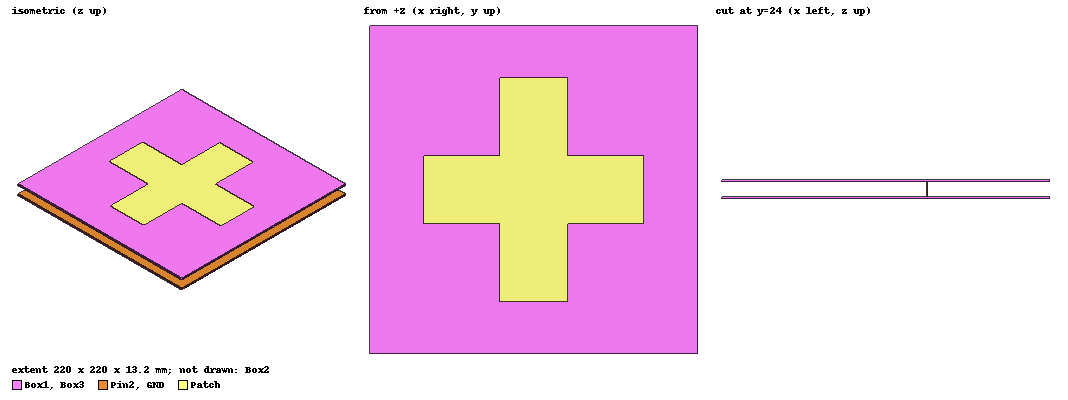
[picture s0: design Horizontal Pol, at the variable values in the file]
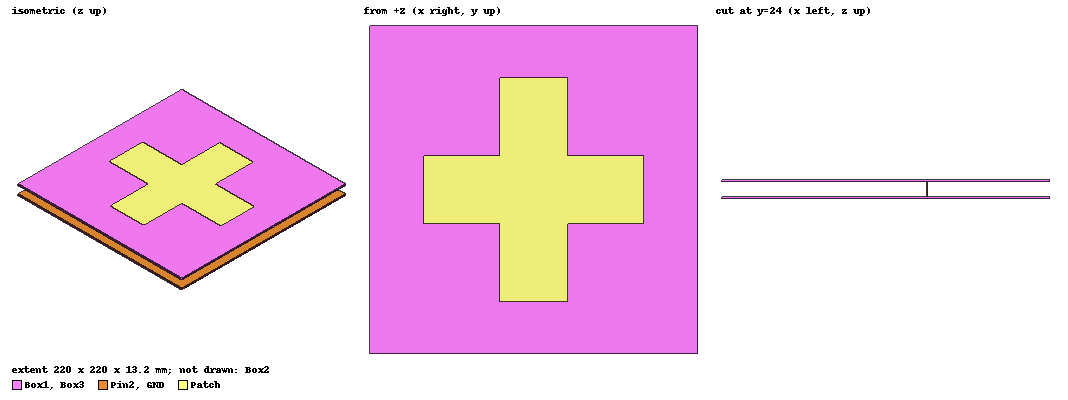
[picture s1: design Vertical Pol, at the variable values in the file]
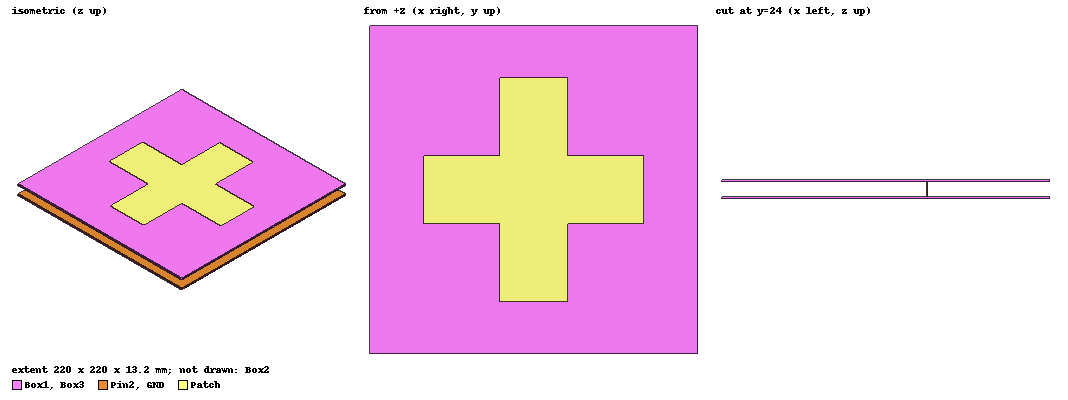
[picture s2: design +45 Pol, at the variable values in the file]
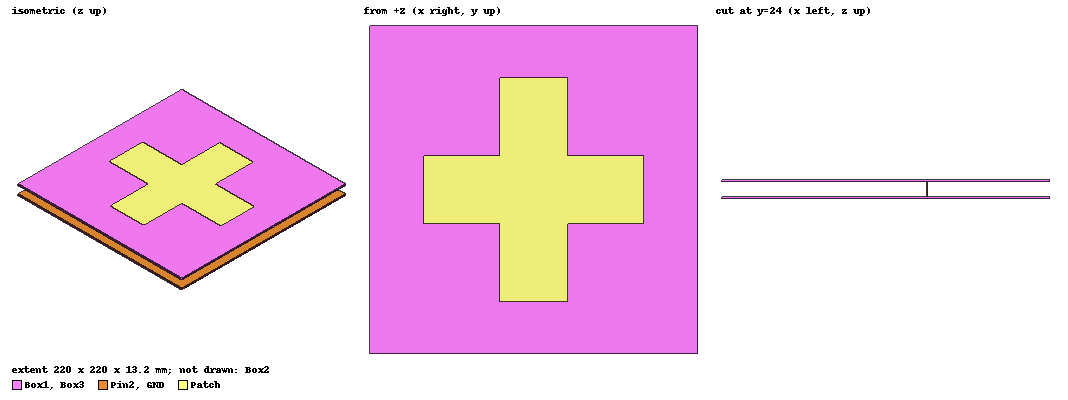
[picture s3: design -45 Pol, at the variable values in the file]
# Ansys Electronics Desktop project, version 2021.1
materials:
  vacuum: permittivity=1
  FR4_epoxy: permittivity=4.4 dielectric_loss_tangent=0.02
  copper: permeability=0.999991 conductivity=58000000

design Horizontal Pol (HFSS, DrivenModal, model units mm)
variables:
  Wg = 220mm
  Ha = 10mm
  Hs = 1.6mm
  Lp = 147mm
  Wp = 45mm
  d = 24mm
  Lc = 15mm
  Bo = 100mm
  w1 = 5.6mm
  l1 = 32mm
  l2 = 40mm
  w2 = 3.8mm
  l3 = 15mm
  l4 = l2-d
  cut = 2.5mm
  l5 = Wg/2-l1-w2-l3+s
  s = 3mm
  rp = 0.3mm
  diode_1 = 80mm
  l_diode = 0.4mm
  diode_2 = 34mm
  w_diode = 0.8mm
  Rf = 1.32ohm
  Cf = 0.15pF
  Lp1 = 150mm
  Wp1 = 45mm
  d_in = 10mm
  w_in = 0.6mm
  l_in = 0.8mm
  w_wi = 1mm
  l_wi = 20mm
  Lin = 220nH
  dd = 28mm
  cap_off = 5mm
  Cap = 220pF
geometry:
  GND = rectangle(corner=(-Wg/2, -Wg/2, 0mm), x_size=Wg, y_size=Wg)
  Box1 [FR4_epoxy] = box(corner=(-Wg/2, -Wg/2, Ha), size=(Wg, Wg, Hs))
  Patch = rectangle(corner=(-Lp/2, -Wp/2, Ha+Hs), x_size=Lp, y_size=Wp)
  Pin [copper] = cylinder(axis=Z, base_centre=(0, d, -Hs), radius=rp, height=2*Hs+Ha)
  Circle1 = circle(normal=Z, centre=(-dd, 0mm, 0mm), radius=0.7mm)
  Box2 [vacuum] = box(corner=(-Wg/2-Bo, -Wg/2-Bo, -Bo), size=(Wg+2*Bo, Wg+2*Bo, Ha+Hs+2*Bo))
  Divider = rectangle(corner=(Wg/2, -w1/2, 0mm), x_size=-l1, y_size=w1)
  Rectangle2 = rectangle(corner=(Wg/2-l1, -l2, 0mm), x_size=-w2, y_size=l2)
  Rectangle3 = rectangle(corner=(Wg/2-l1-w2, -l2, 0mm), x_size=-l3, y_size=w2)
  Rectangle4 = rectangle(corner=(Wg/2-l1-w2-l3, -l2, 0mm), x_size=-w2, y_size=l4)
  Polyline1 = polyline(z=0mm, xy: (0mm, 0mm) (cut, 0mm) (0mm, cut) (0mm, 0mm), closed, covered)
  Polyline1.move(Wg/2-l1-w2-l3-w2, -l2, 0mm)
  Polyline2 = polyline(z=0mm, xy: (0mm, 0mm) (cut, 0mm) (0mm, cut) (0mm, 0mm), closed, covered)
  Polyline2.rotate(axis=Z, angle=90deg)
  Polyline2.move(Wg/2-l1, -l2, 0mm)
  Rectangle5 = rectangle(corner=(Wg/2-l1-w2-l3, -d-w2/2, 0mm), x_size=-l5, y_size=w2)
  Polyline3 = polyline(z=0mm, xy: (0mm, 0mm) (cut, 0mm) (0mm, cut) (0mm, 0mm), closed, covered)
  Polyline3.rotate(axis=Z, angle=180deg)
  Polyline3.move(Wg/2-l1-w2-l3, -d+w2/2, 0mm)
  Rectangle2.unite(Rectangle3, Rectangle4, Rectangle5)
  Rectangle2.subtract(Polyline1, Polyline2, Polyline3)
  Rectangle2_1 = Rectangle2.duplicate_mirror(point=(30mm, 0mm, 0mm), normal=(0mm, 1mm, 0mm))
  Rectangle6 = rectangle(corner=(Wg/2, -w2/2, 0mm), x_size=-Wg/2-dd-s, y_size=w2)
  Divider.unite(Rectangle2, Rectangle2_1, Rectangle6)
  D1 = rectangle(corner=(Wg/2-l1-w2-diode_1, -w_diode/2, 0mm), x_size=-l_diode, y_size=w_diode)
  D2 = rectangle(corner=(Wg/2-l1-w2-diode_2, -d-w_diode/2, 0mm), x_size=-l_diode, y_size=w_diode)
  D3 = D2.duplicate_mirror(point=(-25mm, 0mm, 0mm), normal=(0mm, 1mm, 0mm))
  Rectangle9 = rectangle(corner=(Wg/2-l1-w2-diode_1, -w2/2, 0mm), x_size=-l_diode, y_size=w2)
  Rectangle10 = rectangle(corner=(Wg/2-l1-w2-diode_2, -d-w2/2, 0mm), x_size=-l_diode, y_size=w2)
  Rectangle8_2 = Rectangle10.duplicate_mirror(point=(-25mm, 0mm, 0mm), normal=(0mm, 1mm, 0mm))
  Rectangle9.unite(Rectangle10, Rectangle8_2)
  Divider.subtract(Rectangle9)
  [D1, D2, D3, Divider].move(0mm, 0mm, -Hs)
  Box3 [FR4_epoxy] = box(corner=(-Wg/2, -Wg/2, 0), size=(Wg, Wg, -Hs))
  Port = rectangle(corner=(Wg/2, -w1/2, 0mm), y_size=w1, z_size=-Hs)
  Patch1 = rectangle(corner=(-Lp1/2, -Wp1/2, Ha+Hs), x_size=Lp1, y_size=Wp1)
  Patch1.rotate(axis=Z, angle=90deg)
  Patch.unite(Patch1)
  Inductor1 = rectangle(corner=(Wg/2-d_in-w_in/2, w1/2, -Hs), x_size=w_in, y_size=l_in)
  wire = rectangle(corner=(Wg/2-d_in-w_wi/2, w1/2+l_in, -Hs), x_size=w_wi, y_size=l_wi)
  Inductor2 = rectangle(corner=(d_in-w_in/2, d+w2/2, -Hs), x_size=w_in, y_size=l_in)
  wire2 = rectangle(corner=(d_in-w_wi/2, d+w2/2+l_in, -Hs), x_size=w_wi, y_size=l_wi)
  Inductor2_1 = Inductor2.duplicate_mirror(point=(-30mm, 0mm, 0mm), normal=(0mm, -1mm, 0mm))
  wire2_1 = wire2.duplicate_mirror(point=(-30mm, 0mm, 0mm), normal=(0mm, -1mm, 0mm))
  Inductor3 = rectangle(corner=(-d+d_in-w_in/2, w2/2, -Hs), x_size=w_in, y_size=l_in)
  wire3 = rectangle(corner=(-d+d_in-w_wi/2, l_in+w2/2, -Hs), x_size=w_wi, y_size=l_wi)
  Divider.unite(wire, wire2, wire2_1, wire3)
  Pin_5 [copper] = Pin.duplicate_around_axis(axis=Z, angle=180deg, total=2)
  Pin2 [copper] = cylinder(axis=Z, base_centre=(-dd, 0, -Hs), radius=rp, height=2*Hs+Ha)
  Circle2 = circle(normal=Z, centre=(0, d, 0mm), radius=0.7mm)
  Circle2_1 = Circle2.duplicate_around_axis(axis=Z, angle=180deg, total=2)
  GND.subtract(Circle1, Circle2, Circle2_1)
  Pin3 = cylinder(axis=Z, base_centre=(0, d, -Hs), radius=rp, height=2*Hs+Ha)
  Pin_6 = Pin3.duplicate_around_axis(axis=Z, angle=180deg, total=2)
  Pin4 = cylinder(axis=Z, base_centre=(-dd, 0, -Hs), radius=rp, height=2*Hs+Ha)
  Pin3.unite(Pin_6, Pin4)
  Pin3_1 = Pin3.copy()
  Box1.subtract(Pin3_1)
  Box3.subtract(Pin3)
  Cap = rectangle(corner=(-d+d_in-w_in/2-cap_off, l_in/2, -Hs), x_size=w_in, y_size=-l_in)
  Cap1 = rectangle(corner=(-d+d_in-w_in/2-cap_off, w2/2, -Hs), x_size=w_in, y_size=-w2)
  Cap2 = rectangle(corner=(d_in-w_in/2-cap_off, d+w2/2, -Hs), x_size=w_in, y_size=-w2)
  Cap2_1 = Cap2.duplicate_mirror(point=(-40mm, 0mm, 0mm), normal=(0mm, -1mm, 0mm))
  Cap3 = rectangle(corner=(d_in-w_in/2-cap_off, d+l_in/2, -Hs), x_size=w_in, y_size=-l_in)
  Cap3_1 = Cap3.duplicate_mirror(point=(-40mm, 0mm, 0mm), normal=(0mm, -1mm, 0mm))
  Cap1.unite(Cap2, Cap2_1)
  Divider.subtract(Cap1)
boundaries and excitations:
  FiniteCond1: Finite Conductivity Objects=[GND, Patch] UseMaterial Material=copper IsInternal
  Rad1: Radiation Objects=Box2
  D1: Lumped RLC Objects=D1 CurrentLine{middle of D1.edge(x at corner) -> middle of D1.edge(x opposite corner)} RLC_Type=Parallel Capacitance=Cf
  D2: Lumped RLC Objects=D2 CurrentLine{middle of D2.edge(x at corner) -> middle of D2.edge(x opposite corner)} RLC_Type=Parallel Resistance=Rf
  D3: Lumped RLC Objects=D3 CurrentLine{middle of D3.edge(2 of 4) -> middle of D3.edge(4 of 4)} RLC_Type=Parallel Capacitance=Cf
  FiniteCond2: Finite Conductivity Objects=Divider UseMaterial Material=copper IsInternal
  LumpRLC1: Lumped RLC Objects=Inductor1 CurrentLine{middle of Inductor1.edge(y at corner) -> middle of Inductor1.edge(y opposite corner)} RLC_Type=Parallel Inductance=Lin
  LumpRLC2: Lumped RLC Objects=Inductor2 CurrentLine{middle of Inductor2.edge(y at corner) -> middle of Inductor2.edge(y opposite corner)} RLC_Type=Parallel Inductance=Lin
  LumpRLC3: Lumped RLC Objects=Inductor2_1 CurrentLine{middle of Inductor2_1.edge(1 of 4) -> middle of Inductor2_1.edge(3 of 4)} RLC_Type=Parallel Inductance=Lin
  LumpRLC4: Lumped RLC Objects=Inductor3 CurrentLine{middle of Inductor3.edge(y at corner) -> middle of Inductor3.edge(y opposite corner)} RLC_Type=Parallel Inductance=Lin
  LumpRLC5: Lumped RLC Objects=Cap CurrentLine{middle of Cap.edge(x at corner) -> middle of Cap.edge(x opposite corner)} RLC_Type=Parallel Capacitance=Cap
  LumpRLC6: Lumped RLC Objects=Cap3_1 CurrentLine{middle of Cap3_1.edge(2 of 4) -> middle of Cap3_1.edge(4 of 4)} RLC_Type=Parallel Capacitance=cap
  LumpRLC7: Lumped RLC Objects=Cap3 CurrentLine{middle of Cap3.edge(x at corner) -> middle of Cap3.edge(x opposite corner)} RLC_Type=Parallel Capacitance=cap
  1: Lumped Port Objects=Port Modes{Mode1{IntLine{middle of Port.edge(z opposite corner) -> middle of Port.edge(z at corner)} CharImp=Zpi RenormImp=50ohm}} Impedance=50ohm
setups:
  Setup1: HfssDriven Frequency=0.91GHz MaxDeltaS=0.02 MaximumPasses=20 MinimumPasses=1 MinimumConvergedPasses=1 PercentRefinement=30 BasisOrder=1 PortAccuracy=2
    sweep Sweep: 0.86GHz to 0.96GHz step 0.002GHz; Type=Discrete SaveFields
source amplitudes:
  1:1: 1W 0deg
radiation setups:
  Infinite Sphere1: Infinite Sphere Theta=-180deg..180deg step 2deg Phi=-180deg..180deg step 2deg
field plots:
  Vector_Jsurf1: Jsurf over Patch.face(at (0, 0, 11.6)) on Setup1 : Sweep at Freq=0.914GHz Phase=90deg
  Mag_Jsurf1: Jsurf over Divider.face(all 11) on Setup1 : Sweep at Freq=0.914GHz Phase=0deg
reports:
  S Parameter Plot 1: dB(S(1,1)) vs Freq on Setup1 : Sweep [diode_1=all]; markers MY1 at y=-10
  Gain Plot 1: dB(GainPhi), dB(GainTheta) vs Theta on Setup1 : Sweep, Infinite Sphere1 [Phi=0deg,90deg Freq=0.914GHz]
  Realized Gain Plot 1: dB(RealizedGainTotal) vs Freq on Setup1 : Sweep, Infinite Sphere1 [Phi=0deg Theta=0deg]
  Gain Plot 2: dB(GainTotal) vs Phi, Theta on Setup1 : LastAdaptive, Infinite Sphere1 [Freq=0.91GHz]

design Vertical Pol (HFSS, DrivenModal, model units mm)
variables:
  Wg = 220mm
  Ha = 10mm
  Hs = 1.6mm
  Lp = 147mm
  Wp = 45mm
  d = 24mm
  Lc = 15mm
  Bo = 100mm
  w1 = 5.6mm
  l1 = 32mm
  l2 = 40mm
  w2 = 3.8mm
  l3 = 15mm
  l4 = l2-d
  cut = 2.5mm
  l5 = Wg/2-l1-w2-l3+s
  s = 3mm
  rp = 0.3mm
  diode_1 = 80mm
  l_diode = 0.4mm
  diode_2 = 34mm
  w_diode = 0.8mm
  Rf = 1.32ohm
  Cf = 0.15pF
  Lp1 = 150mm
  Wp1 = 45mm
  d_in = 10mm
  w_in = 0.6mm
  l_in = 0.8mm
  w_wi = 1mm
  l_wi = 20mm
  Lin = 220nH
  dd = 28mm
  cap_off = 5mm
  Cap = 220pF
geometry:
  GND = rectangle(corner=(-Wg/2, -Wg/2, 0mm), x_size=Wg, y_size=Wg)
  Box1 [FR4_epoxy] = box(corner=(-Wg/2, -Wg/2, Ha), size=(Wg, Wg, Hs))
  Patch = rectangle(corner=(-Lp/2, -Wp/2, Ha+Hs), x_size=Lp, y_size=Wp)
  Pin [copper] = cylinder(axis=Z, base_centre=(0, d, -Hs), radius=rp, height=2*Hs+Ha)
  Circle1 = circle(normal=Z, centre=(-dd, 0mm, 0mm), radius=0.7mm)
  Box2 [vacuum] = box(corner=(-Wg/2-Bo, -Wg/2-Bo, -Bo), size=(Wg+2*Bo, Wg+2*Bo, Ha+Hs+2*Bo))
  Divider = rectangle(corner=(Wg/2, -w1/2, 0mm), x_size=-l1, y_size=w1)
  Rectangle2 = rectangle(corner=(Wg/2-l1, -l2, 0mm), x_size=-w2, y_size=l2)
  Rectangle3 = rectangle(corner=(Wg/2-l1-w2, -l2, 0mm), x_size=-l3, y_size=w2)
  Rectangle4 = rectangle(corner=(Wg/2-l1-w2-l3, -l2, 0mm), x_size=-w2, y_size=l4)
  Polyline1 = polyline(z=0mm, xy: (0mm, 0mm) (cut, 0mm) (0mm, cut) (0mm, 0mm), closed, covered)
  Polyline1.move(Wg/2-l1-w2-l3-w2, -l2, 0mm)
  Polyline2 = polyline(z=0mm, xy: (0mm, 0mm) (cut, 0mm) (0mm, cut) (0mm, 0mm), closed, covered)
  Polyline2.rotate(axis=Z, angle=90deg)
  Polyline2.move(Wg/2-l1, -l2, 0mm)
  Rectangle5 = rectangle(corner=(Wg/2-l1-w2-l3, -d-w2/2, 0mm), x_size=-l5, y_size=w2)
  Polyline3 = polyline(z=0mm, xy: (0mm, 0mm) (cut, 0mm) (0mm, cut) (0mm, 0mm), closed, covered)
  Polyline3.rotate(axis=Z, angle=180deg)
  Polyline3.move(Wg/2-l1-w2-l3, -d+w2/2, 0mm)
  Rectangle2.unite(Rectangle3, Rectangle4, Rectangle5)
  Rectangle2.subtract(Polyline1, Polyline2, Polyline3)
  Rectangle2_1 = Rectangle2.duplicate_mirror(point=(30mm, 0mm, 0mm), normal=(0mm, 1mm, 0mm))
  Rectangle6 = rectangle(corner=(Wg/2, -w2/2, 0mm), x_size=-Wg/2-dd-s, y_size=w2)
  Divider.unite(Rectangle2, Rectangle2_1, Rectangle6)
  D1 = rectangle(corner=(Wg/2-l1-w2-diode_1, -w_diode/2, 0mm), x_size=-l_diode, y_size=w_diode)
  D2 = rectangle(corner=(Wg/2-l1-w2-diode_2, -d-w_diode/2, 0mm), x_size=-l_diode, y_size=w_diode)
  D3 = D2.duplicate_mirror(point=(-25mm, 0mm, 0mm), normal=(0mm, 1mm, 0mm))
  Rectangle9 = rectangle(corner=(Wg/2-l1-w2-diode_1, -w2/2, 0mm), x_size=-l_diode, y_size=w2)
  Rectangle10 = rectangle(corner=(Wg/2-l1-w2-diode_2, -d-w2/2, 0mm), x_size=-l_diode, y_size=w2)
  Rectangle8_2 = Rectangle10.duplicate_mirror(point=(-25mm, 0mm, 0mm), normal=(0mm, 1mm, 0mm))
  Rectangle9.unite(Rectangle10, Rectangle8_2)
  Divider.subtract(Rectangle9)
  [D1, D2, D3, Divider].move(0mm, 0mm, -Hs)
  Box3 [FR4_epoxy] = box(corner=(-Wg/2, -Wg/2, 0), size=(Wg, Wg, -Hs))
  Port = rectangle(corner=(Wg/2, -w1/2, 0mm), y_size=w1, z_size=-Hs)
  Patch1 = rectangle(corner=(-Lp1/2, -Wp1/2, Ha+Hs), x_size=Lp1, y_size=Wp1)
  Patch1.rotate(axis=Z, angle=90deg)
  Patch.unite(Patch1)
  Inductor1 = rectangle(corner=(Wg/2-d_in-w_in/2, w1/2, -Hs), x_size=w_in, y_size=l_in)
  wire = rectangle(corner=(Wg/2-d_in-w_wi/2, w1/2+l_in, -Hs), x_size=w_wi, y_size=l_wi)
  Inductor2 = rectangle(corner=(d_in-w_in/2, d+w2/2, -Hs), x_size=w_in, y_size=l_in)
  wire2 = rectangle(corner=(d_in-w_wi/2, d+w2/2+l_in, -Hs), x_size=w_wi, y_size=l_wi)
  Inductor2_1 = Inductor2.duplicate_mirror(point=(-30mm, 0mm, 0mm), normal=(0mm, -1mm, 0mm))
  wire2_1 = wire2.duplicate_mirror(point=(-30mm, 0mm, 0mm), normal=(0mm, -1mm, 0mm))
  Inductor3 = rectangle(corner=(-d+d_in-w_in/2, w2/2, -Hs), x_size=w_in, y_size=l_in)
  wire3 = rectangle(corner=(-d+d_in-w_wi/2, l_in+w2/2, -Hs), x_size=w_wi, y_size=l_wi)
  Divider.unite(wire, wire2, wire2_1, wire3)
  Pin_5 [copper] = Pin.duplicate_around_axis(axis=Z, angle=180deg, total=2)
  Pin2 [copper] = cylinder(axis=Z, base_centre=(-dd, 0, -Hs), radius=rp, height=2*Hs+Ha)
  Circle2 = circle(normal=Z, centre=(0, d, 0mm), radius=0.7mm)
  Circle2_1 = Circle2.duplicate_around_axis(axis=Z, angle=180deg, total=2)
  GND.subtract(Circle1, Circle2, Circle2_1)
  Pin3 = cylinder(axis=Z, base_centre=(0, d, -Hs), radius=rp, height=2*Hs+Ha)
  Pin_6 = Pin3.duplicate_around_axis(axis=Z, angle=180deg, total=2)
  Pin4 = cylinder(axis=Z, base_centre=(-dd, 0, -Hs), radius=rp, height=2*Hs+Ha)
  Pin3.unite(Pin_6, Pin4)
  Pin3_1 = Pin3.copy()
  Box1.subtract(Pin3_1)
  Box3.subtract(Pin3)
  Cap = rectangle(corner=(-d+d_in-w_in/2-cap_off, l_in/2, -Hs), x_size=w_in, y_size=-l_in)
  Cap1 = rectangle(corner=(-d+d_in-w_in/2-cap_off, w2/2, -Hs), x_size=w_in, y_size=-w2)
  Cap2 = rectangle(corner=(d_in-w_in/2-cap_off, d+w2/2, -Hs), x_size=w_in, y_size=-w2)
  Cap2_1 = Cap2.duplicate_mirror(point=(-40mm, 0mm, 0mm), normal=(0mm, -1mm, 0mm))
  Cap3 = rectangle(corner=(d_in-w_in/2-cap_off, d+l_in/2, -Hs), x_size=w_in, y_size=-l_in)
  Cap3_1 = Cap3.duplicate_mirror(point=(-40mm, 0mm, 0mm), normal=(0mm, -1mm, 0mm))
  Cap1.unite(Cap2, Cap2_1)
  Divider.subtract(Cap1)
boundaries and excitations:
  FiniteCond1: Finite Conductivity Objects=[GND, Patch] UseMaterial Material=copper IsInternal
  Rad1: Radiation Objects=Box2
  D1: Lumped RLC Objects=D1 CurrentLine{middle of D1.edge(x at corner) -> middle of D1.edge(x opposite corner)} RLC_Type=Parallel Resistance=Rf
  D2: Lumped RLC Objects=D2 CurrentLine{middle of D2.edge(x at corner) -> middle of D2.edge(x opposite corner)} RLC_Type=Parallel Capacitance=Cf
  D3: Lumped RLC Objects=D3 CurrentLine{middle of D3.edge(2 of 4) -> middle of D3.edge(4 of 4)} RLC_Type=Parallel Capacitance=Cf
  FiniteCond2: Finite Conductivity Objects=Divider UseMaterial Material=copper IsInternal
  LumpRLC1: Lumped RLC Objects=Inductor1 CurrentLine{middle of Inductor1.edge(y at corner) -> middle of Inductor1.edge(y opposite corner)} RLC_Type=Parallel Inductance=Lin
  LumpRLC2: Lumped RLC Objects=Inductor2 CurrentLine{middle of Inductor2.edge(y at corner) -> middle of Inductor2.edge(y opposite corner)} RLC_Type=Parallel Inductance=Lin
  LumpRLC3: Lumped RLC Objects=Inductor2_1 CurrentLine{middle of Inductor2_1.edge(1 of 4) -> middle of Inductor2_1.edge(3 of 4)} RLC_Type=Parallel Inductance=Lin
  LumpRLC4: Lumped RLC Objects=Inductor3 CurrentLine{middle of Inductor3.edge(y at corner) -> middle of Inductor3.edge(y opposite corner)} RLC_Type=Parallel Inductance=Lin
  LumpRLC5: Lumped RLC Objects=Cap CurrentLine{middle of Cap.edge(x at corner) -> middle of Cap.edge(x opposite corner)} RLC_Type=Parallel Capacitance=Cap
  LumpRLC6: Lumped RLC Objects=Cap3_1 CurrentLine{middle of Cap3_1.edge(2 of 4) -> middle of Cap3_1.edge(4 of 4)} RLC_Type=Parallel Capacitance=cap
  LumpRLC7: Lumped RLC Objects=Cap3 CurrentLine{middle of Cap3.edge(x at corner) -> middle of Cap3.edge(x opposite corner)} RLC_Type=Parallel Capacitance=cap
  1: Lumped Port Objects=Port Modes{Mode1{IntLine{middle of Port.edge(z opposite corner) -> middle of Port.edge(z at corner)} CharImp=Zpi RenormImp=50ohm}} Impedance=50ohm
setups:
  Setup1: HfssDriven Frequency=0.91GHz MaxDeltaS=0.02 MaximumPasses=20 MinimumPasses=1 MinimumConvergedPasses=1 PercentRefinement=30 BasisOrder=1 PortAccuracy=2
    sweep Sweep: 0.86GHz to 0.96GHz step 0.002GHz; Type=Discrete SaveFields
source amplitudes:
  1:1: 1W 0deg
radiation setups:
  Infinite Sphere1: Infinite Sphere Theta=-180deg..180deg step 2deg Phi=-180deg..180deg step 2deg
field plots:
  Vector_Jsurf1: Jsurf over Patch.face(at (0, 0, 11.6)) on Setup1 : Sweep at Freq=914MHz Phase=45deg
  Mag_Jsurf1: Jsurf over Divider.face(all 11) on Setup1 : Sweep at Freq=0.914GHz Phase=0deg
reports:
  S Parameter Plot 1: dB(S(1,1)) vs Freq on Setup1 : Sweep [l2=all]; markers MY1 at y=-10
  Gain Plot 1: dB(GainPhi), dB(GainTheta) vs Theta on Setup1 : Sweep, Infinite Sphere1 [Phi=0deg,90deg Freq=0.914GHz]
  Realized Gain Plot 1: dB(RealizedGainTotal) vs Freq on Setup1 : Sweep, Infinite Sphere1 [Phi=0deg Theta=0deg]; dB(RealizedGainTotal), dB(RealizedGainTotal), dB(RealizedGainTotal) vs Freq
  Gain Plot 2: dB(GainTotal) vs Phi, Theta on Setup1 : LastAdaptive, Infinite Sphere1 [Freq=0.91GHz]

design +45 Pol (HFSS, DrivenModal, model units mm)
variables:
  Wg = 220mm
  Ha = 10mm
  Hs = 1.6mm
  Lp = 147mm
  Wp = 45mm
  d = 24mm
  Lc = 15mm
  Bo = 100mm
  w1 = 5.6mm
  l1 = 32mm
  l2 = 40mm
  w2 = 3.8mm
  l3 = 15mm
  l4 = l2-d
  cut = 2.5mm
  l5 = Wg/2-l1-w2-l3+s
  s = 3mm
  rp = 0.3mm
  diode_1 = 80mm
  l_diode = 0.4mm
  diode_2 = 34mm
  w_diode = 0.8mm
  Rf = 1.32ohm
  Cf = 0.15pF
  Lp1 = 150mm
  Wp1 = 45mm
  d_in = 10mm
  w_in = 0.6mm
  l_in = 0.8mm
  w_wi = 1mm
  l_wi = 20mm
  Lin = 220nH
  dd = 28mm
  cap_off = 5mm
  Cap = 220pF
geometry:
  GND = rectangle(corner=(-Wg/2, -Wg/2, 0mm), x_size=Wg, y_size=Wg)
  Box1 [FR4_epoxy] = box(corner=(-Wg/2, -Wg/2, Ha), size=(Wg, Wg, Hs))
  Patch = rectangle(corner=(-Lp/2, -Wp/2, Ha+Hs), x_size=Lp, y_size=Wp)
  Pin [copper] = cylinder(axis=Z, base_centre=(0, d, -Hs), radius=rp, height=2*Hs+Ha)
  Circle1 = circle(normal=Z, centre=(-dd, 0mm, 0mm), radius=0.7mm)
  Box2 [vacuum] = box(corner=(-Wg/2-Bo, -Wg/2-Bo, -Bo), size=(Wg+2*Bo, Wg+2*Bo, Ha+Hs+2*Bo))
  Divider = rectangle(corner=(Wg/2, -w1/2, 0mm), x_size=-l1, y_size=w1)
  Rectangle2 = rectangle(corner=(Wg/2-l1, -l2, 0mm), x_size=-w2, y_size=l2)
  Rectangle3 = rectangle(corner=(Wg/2-l1-w2, -l2, 0mm), x_size=-l3, y_size=w2)
  Rectangle4 = rectangle(corner=(Wg/2-l1-w2-l3, -l2, 0mm), x_size=-w2, y_size=l4)
  Polyline1 = polyline(z=0mm, xy: (0mm, 0mm) (cut, 0mm) (0mm, cut) (0mm, 0mm), closed, covered)
  Polyline1.move(Wg/2-l1-w2-l3-w2, -l2, 0mm)
  Polyline2 = polyline(z=0mm, xy: (0mm, 0mm) (cut, 0mm) (0mm, cut) (0mm, 0mm), closed, covered)
  Polyline2.rotate(axis=Z, angle=90deg)
  Polyline2.move(Wg/2-l1, -l2, 0mm)
  Rectangle5 = rectangle(corner=(Wg/2-l1-w2-l3, -d-w2/2, 0mm), x_size=-l5, y_size=w2)
  Polyline3 = polyline(z=0mm, xy: (0mm, 0mm) (cut, 0mm) (0mm, cut) (0mm, 0mm), closed, covered)
  Polyline3.rotate(axis=Z, angle=180deg)
  Polyline3.move(Wg/2-l1-w2-l3, -d+w2/2, 0mm)
  Rectangle2.unite(Rectangle3, Rectangle4, Rectangle5)
  Rectangle2.subtract(Polyline1, Polyline2, Polyline3)
  Rectangle2_1 = Rectangle2.duplicate_mirror(point=(30mm, 0mm, 0mm), normal=(0mm, 1mm, 0mm))
  Rectangle6 = rectangle(corner=(Wg/2, -w2/2, 0mm), x_size=-Wg/2-dd-s, y_size=w2)
  Divider.unite(Rectangle2, Rectangle2_1, Rectangle6)
  D1 = rectangle(corner=(Wg/2-l1-w2-diode_1, -w_diode/2, 0mm), x_size=-l_diode, y_size=w_diode)
  D2 = rectangle(corner=(Wg/2-l1-w2-diode_2, -d-w_diode/2, 0mm), x_size=-l_diode, y_size=w_diode)
  D3 = D2.duplicate_mirror(point=(-25mm, 0mm, 0mm), normal=(0mm, 1mm, 0mm))
  Rectangle9 = rectangle(corner=(Wg/2-l1-w2-diode_1, -w2/2, 0mm), x_size=-l_diode, y_size=w2)
  Rectangle10 = rectangle(corner=(Wg/2-l1-w2-diode_2, -d-w2/2, 0mm), x_size=-l_diode, y_size=w2)
  Rectangle8_2 = Rectangle10.duplicate_mirror(point=(-25mm, 0mm, 0mm), normal=(0mm, 1mm, 0mm))
  Rectangle9.unite(Rectangle10, Rectangle8_2)
  Divider.subtract(Rectangle9)
  [D1, D2, D3, Divider].move(0mm, 0mm, -Hs)
  Box3 [FR4_epoxy] = box(corner=(-Wg/2, -Wg/2, 0), size=(Wg, Wg, -Hs))
  Port = rectangle(corner=(Wg/2, -w1/2, 0mm), y_size=w1, z_size=-Hs)
  Patch1 = rectangle(corner=(-Lp1/2, -Wp1/2, Ha+Hs), x_size=Lp1, y_size=Wp1)
  Patch1.rotate(axis=Z, angle=90deg)
  Patch.unite(Patch1)
  Inductor1 = rectangle(corner=(Wg/2-d_in-w_in/2, w1/2, -Hs), x_size=w_in, y_size=l_in)
  wire = rectangle(corner=(Wg/2-d_in-w_wi/2, w1/2+l_in, -Hs), x_size=w_wi, y_size=l_wi)
  Inductor2 = rectangle(corner=(d_in-w_in/2, d+w2/2, -Hs), x_size=w_in, y_size=l_in)
  wire2 = rectangle(corner=(d_in-w_wi/2, d+w2/2+l_in, -Hs), x_size=w_wi, y_size=l_wi)
  Inductor2_1 = Inductor2.duplicate_mirror(point=(-30mm, 0mm, 0mm), normal=(0mm, -1mm, 0mm))
  wire2_1 = wire2.duplicate_mirror(point=(-30mm, 0mm, 0mm), normal=(0mm, -1mm, 0mm))
  Inductor3 = rectangle(corner=(-d+d_in-w_in/2, w2/2, -Hs), x_size=w_in, y_size=l_in)
  wire3 = rectangle(corner=(-d+d_in-w_wi/2, l_in+w2/2, -Hs), x_size=w_wi, y_size=l_wi)
  Divider.unite(wire, wire2, wire2_1, wire3)
  Pin_5 [copper] = Pin.duplicate_around_axis(axis=Z, angle=180deg, total=2)
  Pin2 [copper] = cylinder(axis=Z, base_centre=(-dd, 0, -Hs), radius=rp, height=2*Hs+Ha)
  Circle2 = circle(normal=Z, centre=(0, d, 0mm), radius=0.7mm)
  Circle2_1 = Circle2.duplicate_around_axis(axis=Z, angle=180deg, total=2)
  GND.subtract(Circle1, Circle2, Circle2_1)
  Pin3 = cylinder(axis=Z, base_centre=(0, d, -Hs), radius=rp, height=2*Hs+Ha)
  Pin_6 = Pin3.duplicate_around_axis(axis=Z, angle=180deg, total=2)
  Pin4 = cylinder(axis=Z, base_centre=(-dd, 0, -Hs), radius=rp, height=2*Hs+Ha)
  Pin3.unite(Pin_6, Pin4)
  Pin3_1 = Pin3.copy()
  Box1.subtract(Pin3_1)
  Box3.subtract(Pin3)
  Cap = rectangle(corner=(-d+d_in-w_in/2-cap_off, l_in/2, -Hs), x_size=w_in, y_size=-l_in)
  Cap1 = rectangle(corner=(-d+d_in-w_in/2-cap_off, w2/2, -Hs), x_size=w_in, y_size=-w2)
  Cap2 = rectangle(corner=(d_in-w_in/2-cap_off, d+w2/2, -Hs), x_size=w_in, y_size=-w2)
  Cap2_1 = Cap2.duplicate_mirror(point=(-40mm, 0mm, 0mm), normal=(0mm, -1mm, 0mm))
  Cap3 = rectangle(corner=(d_in-w_in/2-cap_off, d+l_in/2, -Hs), x_size=w_in, y_size=-l_in)
  Cap3_1 = Cap3.duplicate_mirror(point=(-40mm, 0mm, 0mm), normal=(0mm, -1mm, 0mm))
  Cap1.unite(Cap2, Cap2_1)
  Divider.subtract(Cap1)
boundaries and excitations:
  FiniteCond1: Finite Conductivity Objects=[GND, Patch] UseMaterial Material=copper IsInternal
  Rad1: Radiation Objects=Box2
  D1: Lumped RLC Objects=D1 CurrentLine{middle of D1.edge(x at corner) -> middle of D1.edge(x opposite corner)} RLC_Type=Parallel Resistance=Rf
  D2: Lumped RLC Objects=D2 CurrentLine{middle of D2.edge(x at corner) -> middle of D2.edge(x opposite corner)} RLC_Type=Parallel Resistance=Rf
  D3: Lumped RLC Objects=D3 CurrentLine{middle of D3.edge(2 of 4) -> middle of D3.edge(4 of 4)} RLC_Type=Parallel Capacitance=Cf
  FiniteCond2: Finite Conductivity Objects=Divider UseMaterial Material=copper IsInternal
  LumpRLC1: Lumped RLC Objects=Inductor1 CurrentLine{middle of Inductor1.edge(y at corner) -> middle of Inductor1.edge(y opposite corner)} RLC_Type=Parallel Inductance=Lin
  LumpRLC2: Lumped RLC Objects=Inductor2 CurrentLine{middle of Inductor2.edge(y at corner) -> middle of Inductor2.edge(y opposite corner)} RLC_Type=Parallel Inductance=Lin
  LumpRLC3: Lumped RLC Objects=Inductor2_1 CurrentLine{middle of Inductor2_1.edge(1 of 4) -> middle of Inductor2_1.edge(3 of 4)} RLC_Type=Parallel Inductance=Lin
  LumpRLC4: Lumped RLC Objects=Inductor3 CurrentLine{middle of Inductor3.edge(y at corner) -> middle of Inductor3.edge(y opposite corner)} RLC_Type=Parallel Inductance=Lin
  LumpRLC5: Lumped RLC Objects=Cap CurrentLine{middle of Cap.edge(x at corner) -> middle of Cap.edge(x opposite corner)} RLC_Type=Parallel Capacitance=Cap
  LumpRLC6: Lumped RLC Objects=Cap3_1 CurrentLine{middle of Cap3_1.edge(2 of 4) -> middle of Cap3_1.edge(4 of 4)} RLC_Type=Parallel Capacitance=cap
  LumpRLC7: Lumped RLC Objects=Cap3 CurrentLine{middle of Cap3.edge(x at corner) -> middle of Cap3.edge(x opposite corner)} RLC_Type=Parallel Capacitance=cap
  1: Lumped Port Objects=Port Modes{Mode1{IntLine{middle of Port.edge(z opposite corner) -> middle of Port.edge(z at corner)} CharImp=Zpi RenormImp=50ohm}} Impedance=50ohm
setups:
  Setup1: HfssDriven Frequency=0.91GHz MaxDeltaS=0.02 MaximumPasses=20 MinimumPasses=1 MinimumConvergedPasses=1 PercentRefinement=30 BasisOrder=1 PortAccuracy=2
    sweep Sweep: 0.86GHz to 0.96GHz step 0.002GHz; Type=Discrete SaveFields
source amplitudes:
  1:1: 1W 0deg
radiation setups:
  Infinite Sphere1: Infinite Sphere Theta=-180deg..180deg step 2deg Phi=-180deg..180deg step 5deg
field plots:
  Vector_Jsurf1: Jsurf over Patch.face(at (0, 0, 11.6)) on Setup1 : Sweep at Freq=0.914GHz Phase=45deg
  Mag_Jsurf1: Jsurf over Divider.face(all 11) on Setup1 : Sweep at Freq=0.914GHz Phase=0deg
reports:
  S Parameter Plot 1: dB(S(1,1)) vs Freq on Setup1 : Sweep; markers MY1 at y=-10
  Gain Plot 1: dB(GainPhi), dB(GainTheta) vs Theta on Setup1 : Sweep, Infinite Sphere1 [Phi=45deg,135deg Freq=0.914GHz]
  Realized Gain Plot 1: dB(RealizedGainTotal) vs Freq on Setup1 : Sweep, Infinite Sphere1 [Phi=0deg Theta=0deg]
  Gain Plot 2: dB(GainTotal) vs Phi, Theta on Setup1 : LastAdaptive, Infinite Sphere1 [Freq=0.91GHz]

design -45 Pol (HFSS, DrivenModal, model units mm)
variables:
  Wg = 220mm
  Ha = 10mm
  Hs = 1.6mm
  Lp = 147mm
  Wp = 45mm
  d = 24mm
  Lc = 15mm
  Bo = 100mm
  w1 = 5.6mm
  l1 = 32mm
  l2 = 40mm
  w2 = 3.8mm
  l3 = 15mm
  l4 = l2-d
  cut = 2.5mm
  l5 = Wg/2-l1-w2-l3+s
  s = 3mm
  rp = 0.3mm
  diode_1 = 80mm
  l_diode = 0.4mm
  diode_2 = 34mm
  w_diode = 0.8mm
  Rf = 1.32ohm
  Cf = 0.15pF
  Lp1 = 150mm
  Wp1 = 45mm
  d_in = 10mm
  w_in = 0.6mm
  l_in = 0.8mm
  w_wi = 1mm
  l_wi = 20mm
  Lin = 220nH
  dd = 28mm
  cap_off = 5mm
  Cap = 220pF
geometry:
  GND = rectangle(corner=(-Wg/2, -Wg/2, 0mm), x_size=Wg, y_size=Wg)
  Box1 [FR4_epoxy] = box(corner=(-Wg/2, -Wg/2, Ha), size=(Wg, Wg, Hs))
  Patch = rectangle(corner=(-Lp/2, -Wp/2, Ha+Hs), x_size=Lp, y_size=Wp)
  Pin [copper] = cylinder(axis=Z, base_centre=(0, d, -Hs), radius=rp, height=2*Hs+Ha)
  Circle1 = circle(normal=Z, centre=(-dd, 0mm, 0mm), radius=0.7mm)
  Box2 [vacuum] = box(corner=(-Wg/2-Bo, -Wg/2-Bo, -Bo), size=(Wg+2*Bo, Wg+2*Bo, Ha+Hs+2*Bo))
  Divider = rectangle(corner=(Wg/2, -w1/2, 0mm), x_size=-l1, y_size=w1)
  Rectangle2 = rectangle(corner=(Wg/2-l1, -l2, 0mm), x_size=-w2, y_size=l2)
  Rectangle3 = rectangle(corner=(Wg/2-l1-w2, -l2, 0mm), x_size=-l3, y_size=w2)
  Rectangle4 = rectangle(corner=(Wg/2-l1-w2-l3, -l2, 0mm), x_size=-w2, y_size=l4)
  Polyline1 = polyline(z=0mm, xy: (0mm, 0mm) (cut, 0mm) (0mm, cut) (0mm, 0mm), closed, covered)
  Polyline1.move(Wg/2-l1-w2-l3-w2, -l2, 0mm)
  Polyline2 = polyline(z=0mm, xy: (0mm, 0mm) (cut, 0mm) (0mm, cut) (0mm, 0mm), closed, covered)
  Polyline2.rotate(axis=Z, angle=90deg)
  Polyline2.move(Wg/2-l1, -l2, 0mm)
  Rectangle5 = rectangle(corner=(Wg/2-l1-w2-l3, -d-w2/2, 0mm), x_size=-l5, y_size=w2)
  Polyline3 = polyline(z=0mm, xy: (0mm, 0mm) (cut, 0mm) (0mm, cut) (0mm, 0mm), closed, covered)
  Polyline3.rotate(axis=Z, angle=180deg)
  Polyline3.move(Wg/2-l1-w2-l3, -d+w2/2, 0mm)
  Rectangle2.unite(Rectangle3, Rectangle4, Rectangle5)
  Rectangle2.subtract(Polyline1, Polyline2, Polyline3)
  Rectangle2_1 = Rectangle2.duplicate_mirror(point=(30mm, 0mm, 0mm), normal=(0mm, 1mm, 0mm))
  Rectangle6 = rectangle(corner=(Wg/2, -w2/2, 0mm), x_size=-Wg/2-dd-s, y_size=w2)
  Divider.unite(Rectangle2, Rectangle2_1, Rectangle6)
  D1 = rectangle(corner=(Wg/2-l1-w2-diode_1, -w_diode/2, 0mm), x_size=-l_diode, y_size=w_diode)
  D2 = rectangle(corner=(Wg/2-l1-w2-diode_2, -d-w_diode/2, 0mm), x_size=-l_diode, y_size=w_diode)
  D3 = D2.duplicate_mirror(point=(-25mm, 0mm, 0mm), normal=(0mm, 1mm, 0mm))
  Rectangle9 = rectangle(corner=(Wg/2-l1-w2-diode_1, -w2/2, 0mm), x_size=-l_diode, y_size=w2)
  Rectangle10 = rectangle(corner=(Wg/2-l1-w2-diode_2, -d-w2/2, 0mm), x_size=-l_diode, y_size=w2)
  Rectangle8_2 = Rectangle10.duplicate_mirror(point=(-25mm, 0mm, 0mm), normal=(0mm, 1mm, 0mm))
  Rectangle9.unite(Rectangle10, Rectangle8_2)
  Divider.subtract(Rectangle9)
  [D1, D2, D3, Divider].move(0mm, 0mm, -Hs)
  Box3 [FR4_epoxy] = box(corner=(-Wg/2, -Wg/2, 0), size=(Wg, Wg, -Hs))
  Port = rectangle(corner=(Wg/2, -w1/2, 0mm), y_size=w1, z_size=-Hs)
  Patch1 = rectangle(corner=(-Lp1/2, -Wp1/2, Ha+Hs), x_size=Lp1, y_size=Wp1)
  Patch1.rotate(axis=Z, angle=90deg)
  Patch.unite(Patch1)
  Inductor1 = rectangle(corner=(Wg/2-d_in-w_in/2, w1/2, -Hs), x_size=w_in, y_size=l_in)
  wire = rectangle(corner=(Wg/2-d_in-w_wi/2, w1/2+l_in, -Hs), x_size=w_wi, y_size=l_wi)
  Inductor2 = rectangle(corner=(d_in-w_in/2, d+w2/2, -Hs), x_size=w_in, y_size=l_in)
  wire2 = rectangle(corner=(d_in-w_wi/2, d+w2/2+l_in, -Hs), x_size=w_wi, y_size=l_wi)
  Inductor2_1 = Inductor2.duplicate_mirror(point=(-30mm, 0mm, 0mm), normal=(0mm, -1mm, 0mm))
  wire2_1 = wire2.duplicate_mirror(point=(-30mm, 0mm, 0mm), normal=(0mm, -1mm, 0mm))
  Inductor3 = rectangle(corner=(-d+d_in-w_in/2, w2/2, -Hs), x_size=w_in, y_size=l_in)
  wire3 = rectangle(corner=(-d+d_in-w_wi/2, l_in+w2/2, -Hs), x_size=w_wi, y_size=l_wi)
  Divider.unite(wire, wire2, wire2_1, wire3)
  Pin_5 [copper] = Pin.duplicate_around_axis(axis=Z, angle=180deg, total=2)
  Pin2 [copper] = cylinder(axis=Z, base_centre=(-dd, 0, -Hs), radius=rp, height=2*Hs+Ha)
  Circle2 = circle(normal=Z, centre=(0, d, 0mm), radius=0.7mm)
  Circle2_1 = Circle2.duplicate_around_axis(axis=Z, angle=180deg, total=2)
  GND.subtract(Circle1, Circle2, Circle2_1)
  Pin3 = cylinder(axis=Z, base_centre=(0, d, -Hs), radius=rp, height=2*Hs+Ha)
  Pin_6 = Pin3.duplicate_around_axis(axis=Z, angle=180deg, total=2)
  Pin4 = cylinder(axis=Z, base_centre=(-dd, 0, -Hs), radius=rp, height=2*Hs+Ha)
  Pin3.unite(Pin_6, Pin4)
  Pin3_1 = Pin3.copy()
  Box1.subtract(Pin3_1)
  Box3.subtract(Pin3)
  Cap = rectangle(corner=(-d+d_in-w_in/2-cap_off, l_in/2, -Hs), x_size=w_in, y_size=-l_in)
  Cap1 = rectangle(corner=(-d+d_in-w_in/2-cap_off, w2/2, -Hs), x_size=w_in, y_size=-w2)
  Cap2 = rectangle(corner=(d_in-w_in/2-cap_off, d+w2/2, -Hs), x_size=w_in, y_size=-w2)
  Cap2_1 = Cap2.duplicate_mirror(point=(-40mm, 0mm, 0mm), normal=(0mm, -1mm, 0mm))
  Cap3 = rectangle(corner=(d_in-w_in/2-cap_off, d+l_in/2, -Hs), x_size=w_in, y_size=-l_in)
  Cap3_1 = Cap3.duplicate_mirror(point=(-40mm, 0mm, 0mm), normal=(0mm, -1mm, 0mm))
  Cap1.unite(Cap2, Cap2_1)
  Divider.subtract(Cap1)
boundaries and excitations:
  FiniteCond1: Finite Conductivity Objects=[GND, Patch] UseMaterial Material=copper IsInternal
  Rad1: Radiation Objects=Box2
  D1: Lumped RLC Objects=D1 CurrentLine{middle of D1.edge(x at corner) -> middle of D1.edge(x opposite corner)} RLC_Type=Parallel Resistance=Rf
  D2: Lumped RLC Objects=D2 CurrentLine{middle of D2.edge(x at corner) -> middle of D2.edge(x opposite corner)} RLC_Type=Parallel Capacitance=Cf
  D3: Lumped RLC Objects=D3 CurrentLine{middle of D3.edge(2 of 4) -> middle of D3.edge(4 of 4)} RLC_Type=Parallel Resistance=Rf
  FiniteCond2: Finite Conductivity Objects=Divider UseMaterial Material=copper IsInternal
  LumpRLC1: Lumped RLC Objects=Inductor1 CurrentLine{middle of Inductor1.edge(y at corner) -> middle of Inductor1.edge(y opposite corner)} RLC_Type=Parallel Inductance=Lin
  LumpRLC2: Lumped RLC Objects=Inductor2 CurrentLine{middle of Inductor2.edge(y at corner) -> middle of Inductor2.edge(y opposite corner)} RLC_Type=Parallel Inductance=Lin
  LumpRLC3: Lumped RLC Objects=Inductor2_1 CurrentLine{middle of Inductor2_1.edge(1 of 4) -> middle of Inductor2_1.edge(3 of 4)} RLC_Type=Parallel Inductance=Lin
  LumpRLC4: Lumped RLC Objects=Inductor3 CurrentLine{middle of Inductor3.edge(y at corner) -> middle of Inductor3.edge(y opposite corner)} RLC_Type=Parallel Inductance=Lin
  LumpRLC5: Lumped RLC Objects=Cap CurrentLine{middle of Cap.edge(x at corner) -> middle of Cap.edge(x opposite corner)} RLC_Type=Parallel Capacitance=Cap
  LumpRLC6: Lumped RLC Objects=Cap3_1 CurrentLine{middle of Cap3_1.edge(2 of 4) -> middle of Cap3_1.edge(4 of 4)} RLC_Type=Parallel Capacitance=cap
  LumpRLC7: Lumped RLC Objects=Cap3 CurrentLine{middle of Cap3.edge(x at corner) -> middle of Cap3.edge(x opposite corner)} RLC_Type=Parallel Capacitance=cap
  1: Lumped Port Objects=Port Modes{Mode1{IntLine{middle of Port.edge(z opposite corner) -> middle of Port.edge(z at corner)} CharImp=Zpi RenormImp=50ohm}} Impedance=50ohm
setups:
  Setup1: HfssDriven Frequency=0.91GHz MaxDeltaS=0.02 MaximumPasses=20 MinimumPasses=1 MinimumConvergedPasses=1 PercentRefinement=30 BasisOrder=1 PortAccuracy=2
    sweep Sweep: 0.86GHz to 0.96GHz step 0.002GHz; Type=Discrete SaveFields
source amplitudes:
  1:1: 1W 0deg
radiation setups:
  Infinite Sphere1: Infinite Sphere Theta=-180deg..180deg step 2deg Phi=-180deg..180deg step 5deg
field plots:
  Vector_Jsurf1: Jsurf over Patch.face(at (0, 0, 11.6)) on Setup1 : Sweep at Freq=0.914GHz Phase=45deg
  Mag_Jsurf1: Jsurf over Divider.face(all 11) on Setup1 : Sweep at Freq=0.914GHz Phase=0deg
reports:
  S Parameter Plot 1: dB(S(1,1)) vs Freq on Setup1 : Sweep; markers MY1 at y=-10
  Gain Plot 1: dB(GainPhi), dB(GainTheta) vs Theta on Setup1 : Sweep, Infinite Sphere1 [Phi=45deg,135deg Freq=0.914GHz]
  Realized Gain Plot 1: dB(RealizedGainTotal) vs Freq on Setup1 : Sweep, Infinite Sphere1 [Phi=0deg Theta=0deg]
  Gain Plot 2: dB(GainTotal) vs Phi, Theta on Setup1 : LastAdaptive, Infinite Sphere1 [Freq=0.91GHz]
